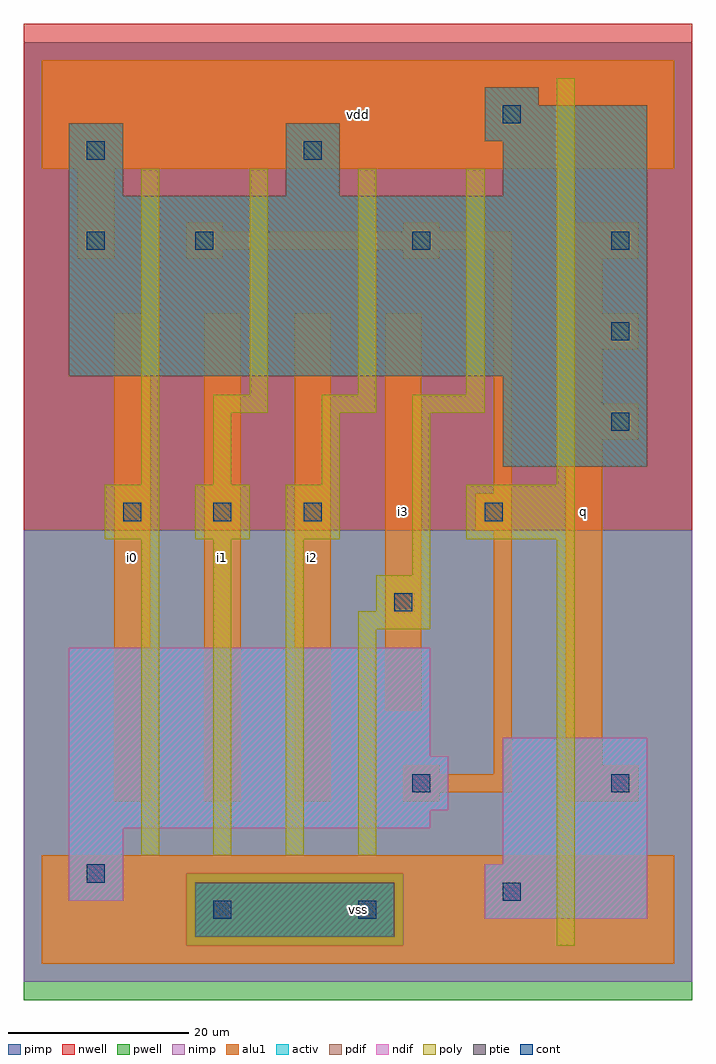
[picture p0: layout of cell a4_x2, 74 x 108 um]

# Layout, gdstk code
import gdstk
lib = gdstk.Library(unit=1e-6, precision=1e-09)
def R(c, l, rs):  # rectangles x0, y0, x1, y1
    for r in rs: c.add(gdstk.rectangle(r[:2], r[2:], *l))
def A(c, l, x, y, w, h, nx, ny, dx, dy):  # array of equal rectangles
    R(c, l, [(x+i*dx, y+j*dy, x+i*dx+w, y+j*dy+h) for i in range(nx) for j in range(ny)])
ndif = (3, 0)
pdif = (4, 0)
ptie = (6, 0)
cont = (25, 0)
pwell = (41, 0)
nwell = (42, 0)
activ = (43, 0)
pimp = (44, 0)
nimp = (45, 0)
poly = (46, 0)
alu1 = (49, 0)

a4_x2 = lib.new_cell('a4_x2')
R(a4_x2, ndif, [(49,5,67,11), (3,7,9,15), (51,11,67,25), (3,15,43,17), (3,17,45,23), (3,23,43,35)])
R(a4_x2, pdif, [(51,55,67,65), (3,65,67,85), (3,85,9,93), (27,85,33,93), (51,85,67,91), (49,91,67,95), (49,95,55,97)])
R(a4_x2, ptie, [(17,3,39,9)])
A(a4_x2, cont, 9, 49, 2, 2, 3, 1, 10, 0)
A(a4_x2, cont, 63, 59, 2, 2, 1, 3, 0, 10)
R(a4_x2, cont, [(19,5,21,7), (35,5,37,7), (51,7,53,9), (5,9,7,11), (41,19,43,21), (63,19,65,21), (39,39,41,41), (49,49,51,51), (5,79,7,81), (17,79,19,81), (41,79,43,81), (5,89,7,91), (29,89,31,91), (51,93,53,95)])
R(a4_x2, pwell, [(-2,-4,72,48)])
R(a4_x2, nwell, [(-2,48,72,104)])
R(a4_x2, activ, [(17,3,39,9), (49,5,67,11), (3,7,9,15), (51,11,67,25), (3,15,43,17), (3,17,45,23), (3,23,43,35), (51,55,67,65), (3,65,67,85), (3,85,9,93), (27,85,33,93), (51,85,67,91), (49,91,67,95), (49,95,55,97)])
R(a4_x2, pimp, [(16,2,40,10), (-2,48,72,102)])
R(a4_x2, nimp, [(-2,-2,72,2), (-2,2,16,10), (40,2,72,10), (-2,10,72,48)])
A(a4_x2, poly, 11, 12, 2, 35, 3, 1, 8, 0)
A(a4_x2, poly, 7, 47, 6, 6, 3, 1, 10, 0)
A(a4_x2, poly, 23, 63, 2, 25, 3, 1, 12, 0)
R(a4_x2, poly, [(57,2,59,47), (35,12,37,37), (35,37,43,39), (37,39,43,43), (41,43,43,61), (47,47,59,53), (11,53,13,88), (19,53,21,61), (31,53,33,61), (57,53,59,98), (19,61,25,63), (31,61,37,63), (41,61,49,63)])
A(a4_x2, alu1, 8, 18, 4, 54, 3, 1, 10, 0)
A(a4_x2, alu1, 58, 58, 8, 4, 1, 3, 0, 10)
R(a4_x2, alu1, [(0,0,70,12), (40,18,44,19), (58,18,66,22), (40,19,52,21), (40,21,44,22), (50,21,52,48), (58,22,62,58), (38,28,42,72), (48,48,52,52), (50,52,52,79), (58,62,62,68), (58,72,62,78), (4,78,8,88), (16,78,20,79), (40,78,44,79), (16,79,52,81), (16,81,20,82), (40,81,44,82), (0,88,70,100)])
a4_x2.add(gdstk.Label('i0', (10,45), layer=49, texttype=0))
a4_x2.add(gdstk.Label('i1', (20,45), layer=49, texttype=0))
a4_x2.add(gdstk.Label('i2', (30,45), layer=49, texttype=0))
a4_x2.add(gdstk.Label('vss', (35,6), layer=49, texttype=0))
a4_x2.add(gdstk.Label('i3', (40,50), layer=49, texttype=0))
a4_x2.add(gdstk.Label('vdd', (35,94), layer=49, texttype=0))
a4_x2.add(gdstk.Label('q', (60,50), layer=49, texttype=0))

lib.write_gds('a4_x2.gds')
